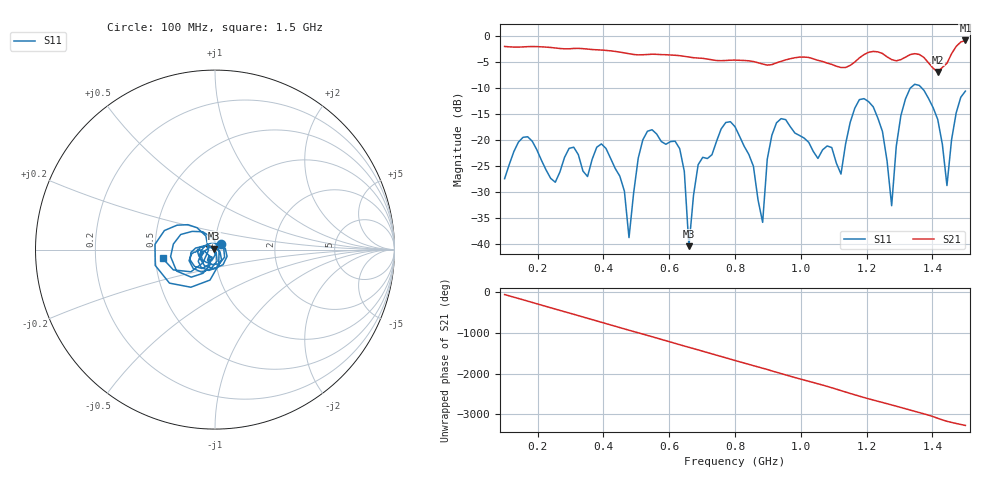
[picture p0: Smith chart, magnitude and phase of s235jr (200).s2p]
! NanoVNA-App
! Date: 2025-09-25 15:05:43
! Start: 100MHz Stop: 1,5GHz Points: 101
! S-Parameter data: F S11 S21 S12 S22
# Hz S RI R 50
!  Frequency  S11_Real  S11_Imag  S21_Real  S21_Imag  S12_Real  S12_Imag  S22_Real  S22_Imag
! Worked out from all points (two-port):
!   101 points, 100 MHz to 1.5 GHz, reference 50 ohm
!   highest |S21| = -0.81 dB at 1.5 GHz (marker M1); lowest = -6.9 dB at 1.416 GHz (marker M2)
!   |S21| within 3 dB of the highest: start of sweep to 639.6 MHz; 1.186 GHz to 1.258 GHz (72.56 MHz wide, 5.94 % of centre) (the widest 2 of 4)
!   lowest |S11| = -40.5 dB at 660 MHz (marker M3), VSWR 1.02, Z = 49.3 + j0.596 ohm
!   |S11| at or under -10 dB: start of sweep to 1.333 GHz; 1.368 GHz to end of sweep
!   S12 and S22 are empty: the file has one direction only
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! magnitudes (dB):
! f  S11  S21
! 100 MHz  -27.5  -2.0
! 170 MHz  -19.4  -2.0
! 338 MHz  -26.0  -2.4
! 408 MHz  -21.6  -2.7
! 478 MHz  -38.8  -3.4
! 520 MHz  -20.0  -3.6
! 576 MHz  -20.3  -3.5
! 632 MHz  -21.7  -3.7
! 660 MHz  -40.5  -4.0
! 688 MHz  -24.8  -4.2
! 800 MHz  -17.4  -4.6
! 884 MHz  -35.9  -5.4
! 926 MHz  -16.7  -5.1
! 1.038 GHz  -22.2  -4.4
! 1.122 GHz  -26.6  -6.0
! 1.206 GHz  -12.6  -3.1
! 1.248 GHz  -18.4  -3.3
! 1.276 GHz  -32.7  -4.5
! 1.332 GHz  -10.0  -3.5
! 1.416 GHz  -16.0  -6.9
! 1.444 GHz  -28.8  -5.2
! 1.5 GHz  -10.6  -0.8
